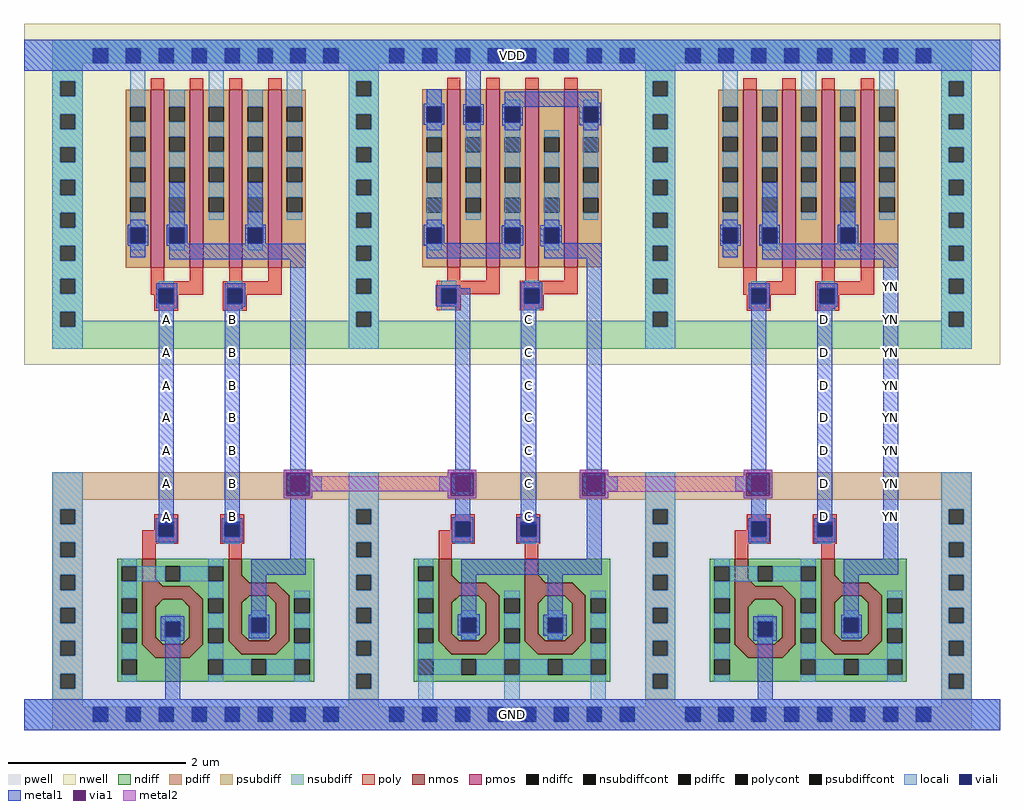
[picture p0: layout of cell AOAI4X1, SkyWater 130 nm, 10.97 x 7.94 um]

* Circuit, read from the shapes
.subckt AOAI4X1 YN A B C D VDD GND
XM1 n1 A GND GND sky130_fd_pr__nfet_01v8 w=2.6 l=0.1478
XM2 n1 B n2 GND sky130_fd_pr__nfet_01v8 w=2.56 l=0.1466
XM3 GND n2 n3 GND sky130_fd_pr__nfet_01v8 w=2.56 l=0.1467
XM4 GND C n3 GND sky130_fd_pr__nfet_01v8 w=2.56 l=0.1467
XM5 n4 n3 GND GND sky130_fd_pr__nfet_01v8 w=2.6 l=0.1478
XM6 n4 D YN GND sky130_fd_pr__nfet_01v8 w=2.56 l=0.1466
XM7 n2 A VDD VDD sky130_fd_pr__pfet_01v8 w=2 l=0.15 m=2
XM8 n2 B VDD VDD sky130_fd_pr__pfet_01v8 w=2 l=0.15 m=2
XM9 VDD n2 n5 VDD sky130_fd_pr__pfet_01v8 w=2 l=0.15 m=2
XM10 n3 C n5 VDD sky130_fd_pr__pfet_01v8 w=2 l=0.15 m=2
XM11 YN n3 VDD VDD sky130_fd_pr__pfet_01v8 w=2 l=0.15 m=2
XM12 YN D VDD VDD sky130_fd_pr__pfet_01v8 w=2 l=0.15 m=2
.ends

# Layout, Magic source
magic
tech sky130A
magscale 1 2
<< nwell >>
rect 0 1586 2194 1588
rect 0 822 11 1586
rect 155 1499 189 1533
rect 2183 822 2194 1586
<< pwell >>
rect 0 2 64 70
rect 155 19 189 53
rect 2130 2 2194 70
rect 0 0 2194 2
<< psubdiff >>
rect 64 0 2130 2
<< nsubdiff >>
rect 64 1550 2130 1552
<< locali >>
rect 0 1482 2194 1552
rect 0 0 2194 70
<< metal1 >>
rect 0 1482 2194 1552
rect 1931 981 1965 1015
rect 303 907 337 941
rect 451 907 485 941
rect 1117 907 1151 941
rect 1783 907 1817 941
rect 1931 907 1965 941
rect 303 833 337 867
rect 451 833 485 867
rect 1117 833 1151 867
rect 1783 833 1817 867
rect 1931 833 1965 867
rect 303 759 337 793
rect 451 759 485 793
rect 1117 759 1151 793
rect 1783 759 1817 793
rect 1931 759 1965 793
rect 303 685 337 719
rect 451 685 485 719
rect 1117 685 1151 719
rect 1783 685 1817 719
rect 1931 685 1965 719
rect 303 611 337 645
rect 451 611 485 645
rect 1117 611 1151 645
rect 1783 611 1817 645
rect 1931 611 1965 645
rect 303 537 337 571
rect 451 537 485 571
rect 1117 537 1151 571
rect 1783 537 1817 571
rect 1931 537 1965 571
rect 303 463 337 497
rect 451 463 485 497
rect 1117 463 1151 497
rect 1783 463 1817 497
rect 1931 463 1965 497
rect 0 0 2194 70
use aoai4x1_pcell  aoai4x1_pcell_0
transform 1 0 98 0 1 36
box -87 -34 2085 1550
<< labels >>
rlabel metal1 1931 611 1965 645 1 YN
port 1 nsew signal output
rlabel metal1 1931 537 1965 571 1 YN
port 1 nsew signal output
rlabel metal1 1931 463 1965 497 1 YN
port 1 nsew signal output
rlabel metal1 1931 685 1965 719 1 YN
port 1 nsew signal output
rlabel metal1 1931 759 1965 793 1 YN
port 1 nsew signal output
rlabel metal1 1931 833 1965 867 1 YN
port 1 nsew signal output
rlabel metal1 1931 907 1965 941 1 YN
port 1 nsew signal output
rlabel metal1 1931 981 1965 1015 1 YN
port 1 nsew signal output
rlabel metal1 303 611 337 645 1 A
port 2 nsew signal input
rlabel metal1 303 537 337 571 1 A
port 2 nsew signal input
rlabel metal1 303 463 337 497 1 A
port 2 nsew signal input
rlabel metal1 303 685 337 719 1 A
port 2 nsew signal input
rlabel metal1 303 759 337 793 1 A
port 2 nsew signal input
rlabel metal1 303 833 337 867 1 A
port 2 nsew signal input
rlabel metal1 303 907 337 941 1 A
port 2 nsew signal input
rlabel metal1 451 685 485 719 1 B
port 3 nsew signal input
rlabel metal1 451 759 485 793 1 B
port 3 nsew signal input
rlabel metal1 451 833 485 867 1 B
port 3 nsew signal input
rlabel metal1 451 907 485 941 1 B
port 3 nsew signal input
rlabel metal1 451 611 485 645 1 B
port 3 nsew signal input
rlabel metal1 451 537 485 571 1 B
port 3 nsew signal input
rlabel metal1 451 463 485 497 1 B
port 3 nsew signal input
rlabel metal1 1117 685 1151 719 1 C
port 4 nsew signal input
rlabel metal1 1117 611 1151 645 1 C
port 4 nsew signal input
rlabel metal1 1117 537 1151 571 1 C
port 4 nsew signal input
rlabel metal1 1117 463 1151 497 1 C
port 4 nsew signal input
rlabel metal1 1117 833 1151 867 1 C
port 4 nsew signal input
rlabel metal1 1117 907 1151 941 1 C
port 4 nsew signal input
rlabel metal1 1117 759 1151 793 1 C
port 4 nsew signal input
rlabel metal1 1783 833 1817 867 1 D
port 5 nsew signal input
rlabel metal1 1783 759 1817 793 1 D
port 5 nsew signal input
rlabel metal1 1783 685 1817 719 1 D
port 5 nsew signal input
rlabel metal1 1783 611 1817 645 1 D
port 5 nsew signal input
rlabel metal1 1783 537 1817 571 1 D
port 5 nsew signal input
rlabel metal1 1783 463 1817 497 1 D
port 5 nsew signal input
rlabel metal1 1783 907 1817 941 1 D
port 5 nsew signal input
rlabel metal1 0 1482 2194 1552 1 VDD
port 6 nsew power bidirectional abutment
rlabel metal1 0 0 2194 70 1 GND
port 7 nsew ground bidirectional abutment
<< properties >>
string FIXED_BBOX 0 0 2194 1552
string LEFclass CORE
string LEFsite unitrh
string LEFsymmetry X Y
<< end >>

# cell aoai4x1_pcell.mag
magic
tech sky130A
magscale 1 2
<< metal1 >>
rect 486 543 550 549
rect 486 491 492 543
rect 544 491 550 543
rect 486 485 550 491
rect 855 543 919 549
rect 855 491 861 543
rect 913 491 919 543
rect 855 485 919 491
rect 1151 543 1215 549
rect 1151 491 1157 543
rect 1209 491 1215 543
rect 1151 485 1215 491
rect 1520 543 1584 549
rect 1520 491 1526 543
rect 1578 491 1584 543
rect 1520 485 1584 491
<< via1 >>
rect 492 491 544 543
rect 861 491 913 543
rect 1157 491 1209 543
rect 1526 491 1578 543
<< metal2 >>
rect 486 543 550 549
rect 486 491 492 543
rect 544 535 550 543
rect 855 543 919 549
rect 855 535 861 543
rect 544 501 861 535
rect 544 491 550 501
rect 486 485 550 491
rect 855 491 861 501
rect 913 491 919 543
rect 855 485 919 491
rect 1151 543 1215 549
rect 1151 491 1157 543
rect 1209 535 1215 543
rect 1520 543 1584 549
rect 1520 535 1526 543
rect 1209 500 1526 535
rect 1209 491 1215 500
rect 1151 485 1215 491
rect 1520 491 1526 500
rect 1578 491 1584 543
rect 1520 485 1584 491
use li1_M1_contact  li1_M1_contact_0
transform -1 0 518 0 -1 518
box -53 -33 29 33
use li1_M1_contact  li1_M1_contact_1
transform 1 0 888 0 1 518
box -53 -33 29 33
use li1_M1_contact  li1_M1_contact_2
transform -1 0 1184 0 -1 518
box -53 -33 29 33
use li1_M1_contact  li1_M1_contact_3
transform 1 0 1554 0 1 518
box -53 -33 29 33
use nand2x1_pcell  nand2x1_pcell_0
transform 1 0 0 0 1 0
box -87 -34 753 1550
use nand2x1_pcell  nand2x1_pcell_1
transform 1 0 1332 0 1 0
box -87 -34 753 1550
use nor2x1_pcell  nor2x1_pcell_0
transform 1 0 666 0 1 0
box -87 -34 753 1550
<< end >>

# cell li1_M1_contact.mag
magic
tech sky130A
magscale 1 2
<< locali >>
rect -17 17 17 33
rect -17 -33 17 -17
<< viali >>
rect -17 -17 17 17
<< metal1 >>
rect -23 17 23 23
rect -53 -17 -17 17
rect 17 -17 29 17
rect -23 -23 23 -17
<< end >>

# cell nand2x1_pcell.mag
magic
tech sky130A
magscale 1 2
<< nwell >>
rect 87 786 579 1550
<< pwell >>
rect 34 542 632 544
rect -31 -30 697 542
rect 34 -34 632 -30
<< pdiff >>
rect 223 1093 269 1100
rect 223 1059 229 1093
rect 263 1059 269 1093
rect 223 1053 269 1059
rect 399 1093 445 1100
rect 399 1059 405 1093
rect 439 1059 445 1093
rect 399 1053 445 1059
<< pdiffc >>
rect 141 1059 175 1093
rect 229 1059 263 1093
rect 405 1059 439 1093
<< psubdiff >>
rect 34 542 632 544
rect 31 482 635 542
rect 31 480 34 482
rect 632 480 635 482
rect 31 -17 57 17
rect 91 -17 131 17
rect 165 -17 205 17
rect 239 -17 279 17
rect 313 -17 353 17
rect 387 -17 427 17
rect 461 -17 501 17
rect 535 -17 575 17
rect 609 -17 635 17
rect 31 -30 635 -17
rect 34 -34 632 -30
<< nsubdiff >>
rect 34 1497 632 1514
rect 34 1463 57 1497
rect 91 1463 131 1497
rect 165 1463 205 1497
rect 239 1463 279 1497
rect 313 1463 353 1497
rect 387 1463 427 1497
rect 461 1463 501 1497
rect 535 1463 575 1497
rect 609 1463 632 1497
rect 34 822 632 884
<< psubdiffcont >>
rect 57 -17 91 17
rect 131 -17 165 17
rect 205 -17 239 17
rect 279 -17 313 17
rect 353 -17 387 17
rect 427 -17 461 17
rect 501 -17 535 17
rect 575 -17 609 17
<< nsubdiffcont >>
rect 57 1463 91 1497
rect 131 1463 165 1497
rect 205 1463 239 1497
rect 279 1463 313 1497
rect 353 1463 387 1497
rect 427 1463 461 1497
rect 501 1463 535 1497
rect 575 1463 609 1497
<< poly >>
rect 168 375 198 413
rect 362 382 392 383
<< locali >>
rect -34 1497 634 1514
rect -34 1463 57 1497
rect 91 1463 131 1497
rect 165 1463 205 1497
rect 239 1463 279 1497
rect 313 1463 353 1497
rect 387 1463 427 1497
rect 461 1463 501 1497
rect 535 1463 575 1497
rect 609 1463 634 1497
rect -34 1446 634 1463
rect 141 1093 175 1122
rect 141 1043 175 1059
rect 229 1093 263 1122
rect 229 1043 263 1059
rect 405 1093 439 1122
rect 405 1043 439 1059
rect 33 17 659 34
rect 33 -17 57 17
rect 91 -17 131 17
rect 165 -17 205 17
rect 239 -17 279 17
rect 313 -17 353 17
rect 387 -17 427 17
rect 461 -17 501 17
rect 535 -17 575 17
rect 609 -17 659 17
rect 33 -34 659 -17
<< viali >>
rect 57 1463 91 1497
rect 131 1463 165 1497
rect 205 1463 239 1497
rect 279 1463 313 1497
rect 353 1463 387 1497
rect 427 1463 461 1497
rect 501 1463 535 1497
rect 575 1463 609 1497
rect 141 1059 175 1093
rect 229 1059 263 1093
rect 405 1059 439 1093
rect 205 923 239 957
rect 359 923 393 957
rect 205 399 239 433
rect 353 399 387 433
rect 219 174 253 208
rect 413 183 447 217
rect 57 -17 91 17
rect 131 -17 165 17
rect 205 -17 239 17
rect 279 -17 313 17
rect 353 -17 387 17
rect 427 -17 461 17
rect 501 -17 535 17
rect 575 -17 609 17
<< metal1 >>
rect -34 1497 700 1514
rect -34 1463 57 1497
rect 91 1463 131 1497
rect 165 1463 205 1497
rect 239 1463 279 1497
rect 313 1463 353 1497
rect 387 1463 427 1497
rect 461 1463 501 1497
rect 535 1463 575 1497
rect 609 1463 700 1497
rect -34 1446 700 1463
rect 141 1100 175 1111
rect 229 1100 263 1196
rect 405 1100 439 1196
rect 135 1093 181 1100
rect 135 1059 141 1093
rect 175 1059 181 1093
rect 135 1053 181 1059
rect 223 1093 269 1100
rect 223 1059 229 1093
rect 263 1059 269 1093
rect 223 1057 269 1059
rect 399 1093 445 1100
rect 399 1059 405 1093
rect 439 1059 445 1093
rect 399 1057 445 1059
rect 223 1053 535 1057
rect 141 1027 175 1053
rect 229 1023 535 1053
rect 199 957 246 969
rect 199 923 205 957
rect 239 923 246 957
rect 199 912 246 923
rect 353 957 399 969
rect 353 923 359 957
rect 393 923 399 957
rect 353 916 399 923
rect 205 441 239 912
rect 353 911 394 916
rect 353 441 387 911
rect 198 433 246 441
rect 198 399 205 433
rect 239 399 246 433
rect 198 387 246 399
rect 347 433 394 441
rect 347 399 353 433
rect 387 399 394 433
rect 347 387 394 399
rect 501 348 535 1023
rect 413 314 535 348
rect 413 224 447 314
rect 209 208 262 220
rect 209 174 219 208
rect 253 174 262 208
rect 209 165 262 174
rect 407 217 453 224
rect 407 183 413 217
rect 447 183 453 217
rect 407 171 453 183
rect 219 34 253 165
rect -34 17 700 34
rect -34 -17 57 17
rect 91 -17 131 17
rect 165 -17 205 17
rect 239 -17 279 17
rect 313 -17 353 17
rect 387 -17 427 17
rect 461 -17 501 17
rect 535 -17 575 17
rect 609 -17 700 17
rect -34 -34 700 -17
use diff_ring_side  diff_ring_side_0
transform 1 0 666 0 1 0
box -87 -34 87 1550
use diff_ring_side  diff_ring_side_1
transform 1 0 0 0 1 0
box -87 -34 87 1550
use nmos_bottom  nmos_bottom_0
transform -1 0 360 0 1 73
box 0 0 248 302
use nmos_top_trim1  nmos_top_trim1_0
transform -1 0 554 0 1 73
box 0 0 248 309
use pmos2  pmos2_0
transform 1 0 43 0 1 1404
box 52 -461 352 42
use pmos2  pmos2_1
transform 1 0 219 0 1 1404
box 52 -461 352 42
use poly_li1_contact  poly_li1_contact_0
transform 0 1 223 -1 0 941
box -32 -28 34 26
use poly_li1_contact  poly_li1_contact_1
transform 0 1 223 -1 0 417
box -32 -28 34 26
use poly_li1_contact  poly_li1_contact_2
transform 0 -1 369 1 0 415
box -32 -28 34 26
use poly_li1_contact  poly_li1_contact_3
transform 0 1 377 -1 0 941
box -32 -28 34 26
<< end >>

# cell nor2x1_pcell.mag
magic
tech sky130A
magscale 1 2
<< nwell >>
rect 87 786 579 1550
<< pwell >>
rect 34 -34 632 544
<< pdiff >>
rect 141 1043 175 1059
rect 317 1043 351 1050
rect 405 1043 439 1050
<< pdiffc >>
rect 141 1331 175 1365
rect 229 1331 263 1365
rect 317 1331 351 1365
rect 493 1331 527 1365
rect 141 1059 175 1093
rect 317 1059 351 1093
rect 405 1059 439 1093
<< psubdiff >>
rect 34 482 632 544
rect 34 -17 57 17
rect 91 -17 131 17
rect 165 -17 205 17
rect 239 -17 279 17
rect 313 -17 353 17
rect 387 -17 427 17
rect 461 -17 501 17
rect 535 -17 575 17
rect 609 -17 632 17
rect 34 -34 632 -17
<< nsubdiff >>
rect 34 1497 632 1514
rect 34 1463 57 1497
rect 91 1463 131 1497
rect 165 1463 205 1497
rect 239 1463 279 1497
rect 313 1463 353 1497
rect 387 1463 427 1497
rect 461 1463 501 1497
rect 535 1463 575 1497
rect 609 1463 632 1497
rect 34 822 632 884
<< psubdiffcont >>
rect 57 -17 91 17
rect 131 -17 165 17
rect 205 -17 239 17
rect 279 -17 313 17
rect 353 -17 387 17
rect 427 -17 461 17
rect 501 -17 535 17
rect 575 -17 609 17
<< nsubdiffcont >>
rect 57 1463 91 1497
rect 131 1463 165 1497
rect 205 1463 239 1497
rect 279 1463 313 1497
rect 353 1463 387 1497
rect 427 1463 461 1497
rect 501 1463 535 1497
rect 575 1463 609 1497
<< poly >>
rect 168 375 198 413
rect 362 382 392 383
<< locali >>
rect -34 1497 667 1514
rect -34 1463 57 1497
rect 91 1463 131 1497
rect 165 1463 205 1497
rect 239 1463 279 1497
rect 313 1463 353 1497
rect 387 1463 427 1497
rect 461 1463 501 1497
rect 535 1463 575 1497
rect 609 1463 667 1497
rect -34 1446 667 1463
rect 141 1365 175 1405
rect 141 1312 175 1331
rect 229 1365 263 1405
rect 229 1229 263 1331
rect 317 1365 351 1381
rect 317 1229 351 1331
rect 493 1365 527 1381
rect 493 1229 527 1331
rect 141 1093 175 1195
rect 141 1043 175 1059
rect 317 1093 351 1195
rect 317 1043 351 1059
rect 405 1093 439 1195
rect 405 1043 439 1059
rect 122 34 156 157
rect 316 34 350 89
rect 510 34 544 89
rect 33 17 657 34
rect 33 -17 57 17
rect 91 -17 131 17
rect 165 -17 205 17
rect 239 -17 279 17
rect 313 -17 353 17
rect 387 -17 427 17
rect 461 -17 501 17
rect 535 -17 575 17
rect 609 -17 657 17
rect 33 -34 657 -17
<< viali >>
rect 57 1463 91 1497
rect 131 1463 165 1497
rect 205 1463 239 1497
rect 279 1463 313 1497
rect 353 1463 387 1497
rect 427 1463 461 1497
rect 501 1463 535 1497
rect 575 1463 609 1497
rect 141 1331 175 1365
rect 229 1331 263 1365
rect 317 1331 351 1365
rect 493 1331 527 1365
rect 141 1059 175 1093
rect 317 1059 351 1093
rect 405 1059 439 1093
rect 174 924 208 958
rect 360 924 394 958
rect 205 399 239 433
rect 353 399 387 433
rect 219 183 253 217
rect 413 183 447 217
rect 57 -17 91 17
rect 131 -17 165 17
rect 205 -17 239 17
rect 279 -17 313 17
rect 353 -17 387 17
rect 427 -17 461 17
rect 501 -17 535 17
rect 575 -17 609 17
<< metal1 >>
rect 34 1497 632 1514
rect 34 1463 57 1497
rect 91 1463 131 1497
rect 165 1463 205 1497
rect 239 1463 279 1497
rect 313 1463 353 1497
rect 387 1463 427 1497
rect 461 1463 501 1497
rect 535 1463 575 1497
rect 609 1463 632 1497
rect 34 1446 632 1463
rect 141 1372 175 1405
rect 135 1365 181 1372
rect 229 1371 263 1446
rect 317 1375 527 1399
rect 317 1371 533 1375
rect 135 1331 141 1365
rect 175 1331 181 1365
rect 135 1325 181 1331
rect 223 1365 269 1371
rect 223 1331 229 1365
rect 263 1331 269 1365
rect 223 1325 269 1331
rect 311 1365 533 1371
rect 311 1331 317 1365
rect 351 1331 357 1365
rect 141 1313 175 1325
rect 229 1313 263 1325
rect 311 1323 357 1331
rect 484 1331 493 1365
rect 527 1331 533 1365
rect 484 1324 533 1331
rect 317 1313 351 1323
rect 493 1313 527 1324
rect 141 1100 175 1111
rect 135 1093 181 1100
rect 317 1099 351 1111
rect 405 1099 439 1111
rect 135 1059 141 1093
rect 175 1059 181 1093
rect 310 1093 358 1099
rect 310 1059 317 1093
rect 351 1059 358 1093
rect 135 1053 358 1059
rect 397 1093 445 1099
rect 397 1059 405 1093
rect 439 1059 445 1093
rect 141 1025 351 1053
rect 397 1052 535 1059
rect 405 1025 535 1052
rect 162 958 217 964
rect 353 958 401 971
rect 162 924 174 958
rect 208 924 239 958
rect 162 917 239 924
rect 205 443 239 917
rect 353 924 360 958
rect 394 924 401 958
rect 353 912 401 924
rect 353 443 387 912
rect 197 433 246 443
rect 197 399 205 433
rect 239 399 246 433
rect 197 387 246 399
rect 344 433 395 443
rect 344 399 353 433
rect 387 399 395 433
rect 344 387 395 399
rect 501 348 535 1025
rect 219 314 535 348
rect 219 225 253 314
rect 211 217 260 225
rect 413 224 447 314
rect 211 183 219 217
rect 253 183 260 217
rect 211 177 260 183
rect 403 217 456 224
rect 403 183 413 217
rect 447 183 456 217
rect 219 167 253 177
rect 403 176 456 183
rect 413 167 447 176
rect 34 17 632 34
rect 34 -17 57 17
rect 91 -17 131 17
rect 165 -17 205 17
rect 239 -17 279 17
rect 313 -17 353 17
rect 387 -17 427 17
rect 461 -17 501 17
rect 535 -17 575 17
rect 609 -17 632 17
rect 34 -34 632 -17
use diff_ring_side  diff_ring_side_0
transform 1 0 666 0 1 0
box -87 -34 87 1550
use diff_ring_side  diff_ring_side_1
transform 1 0 0 0 1 0
box -87 -34 87 1550
use nmos_top_trim1  nmos_top_trim1_1
transform -1 0 360 0 1 73
box 0 0 248 309
use nmos_top_trim2  nmos_top_trim2_0
transform -1 0 554 0 1 73
box 0 0 248 309
use pmos2_1  pmos2_1_0
transform 1 0 43 0 1 1404
box 52 -460 352 37
use pmos2_1  pmos2_1_1
transform 1 0 219 0 1 1404
box 52 -460 352 37
use poly_li1_contact  poly_li1_contact_0
transform 0 1 192 -1 0 942
box -32 -28 34 26
use poly_li1_contact  poly_li1_contact_1
transform 0 1 223 -1 0 417
box -32 -28 34 26
use poly_li1_contact  poly_li1_contact_2
transform 0 -1 369 1 0 415
box -32 -28 34 26
use poly_li1_contact  poly_li1_contact_3
transform 0 1 378 -1 0 942
box -32 -28 34 26
<< end >>

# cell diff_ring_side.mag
magic
tech sky130A
magscale 1 2
<< nwell >>
rect -87 786 87 1550
<< pwell >>
rect -34 -34 34 544
<< psubdiff >>
rect -34 461 34 544
rect -34 427 -17 461
rect 17 427 34 461
rect -34 387 34 427
rect -34 353 -17 387
rect 17 353 34 387
rect -34 313 34 353
rect -34 279 -17 313
rect 17 279 34 313
rect -34 239 34 279
rect -34 205 -17 239
rect 17 205 34 239
rect -34 165 34 205
rect -34 131 -17 165
rect 17 131 34 165
rect -34 91 34 131
rect -34 57 -17 91
rect 17 57 34 91
rect -34 -34 34 57
<< nsubdiff >>
rect -34 1423 34 1514
rect -34 1389 -17 1423
rect 17 1389 34 1423
rect -34 1349 34 1389
rect -34 1315 -17 1349
rect 17 1315 34 1349
rect -34 1275 34 1315
rect -34 1241 -17 1275
rect 17 1241 34 1275
rect -34 1201 34 1241
rect -34 1167 -17 1201
rect 17 1167 34 1201
rect -34 1127 34 1167
rect -34 1093 -17 1127
rect 17 1093 34 1127
rect -34 1053 34 1093
rect -34 1019 -17 1053
rect 17 1019 34 1053
rect -34 979 34 1019
rect -34 945 -17 979
rect 17 945 34 979
rect -34 905 34 945
rect -34 871 -17 905
rect 17 871 34 905
rect -34 822 34 871
<< psubdiffcont >>
rect -17 427 17 461
rect -17 353 17 387
rect -17 279 17 313
rect -17 205 17 239
rect -17 131 17 165
rect -17 57 17 91
<< nsubdiffcont >>
rect -17 1389 17 1423
rect -17 1315 17 1349
rect -17 1241 17 1275
rect -17 1167 17 1201
rect -17 1093 17 1127
rect -17 1019 17 1053
rect -17 945 17 979
rect -17 871 17 905
<< locali >>
rect -34 1423 34 1514
rect -34 1389 -17 1423
rect 17 1389 34 1423
rect -34 1349 34 1389
rect -34 1315 -17 1349
rect 17 1315 34 1349
rect -34 1275 34 1315
rect -34 1241 -17 1275
rect 17 1241 34 1275
rect -34 1201 34 1241
rect -34 1167 -17 1201
rect 17 1167 34 1201
rect -34 1127 34 1167
rect -34 1093 -17 1127
rect 17 1093 34 1127
rect -34 1053 34 1093
rect -34 1019 -17 1053
rect 17 1019 34 1053
rect -34 979 34 1019
rect -34 945 -17 979
rect 17 945 34 979
rect -34 905 34 945
rect -34 871 -17 905
rect 17 871 34 905
rect -34 822 34 871
rect -34 461 34 544
rect -34 427 -17 461
rect 17 427 34 461
rect -34 387 34 427
rect -34 353 -17 387
rect 17 353 34 387
rect -34 313 34 353
rect -34 279 -17 313
rect 17 279 34 313
rect -34 239 34 279
rect -34 205 -17 239
rect 17 205 34 239
rect -34 165 34 205
rect -34 131 -17 165
rect 17 131 34 165
rect -34 91 34 131
rect -34 57 -17 91
rect 17 57 34 91
rect -34 -34 34 57
<< metal1 >>
rect -34 1446 34 1514
rect -34 -34 34 34
<< end >>

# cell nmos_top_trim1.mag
magic
tech sky130
magscale 1 2
<< nmos >>
tri 146 223 162 239 se
rect 162 223 192 276
tri 56 193 86 223 se
rect 86 193 192 223
rect 56 92 86 193
tri 86 177 102 193 nw
tri 146 177 162 193 ne
tri 86 92 102 108 sw
tri 146 92 162 108 se
rect 162 92 192 193
tri 56 62 86 92 ne
rect 86 62 162 92
tri 162 62 192 92 nw
<< ndiff >>
rect 0 239 162 276
rect 0 223 146 239
tri 146 223 162 239 nw
rect 192 260 248 276
rect 192 226 204 260
rect 238 226 248 260
rect 0 188 56 223
tri 56 193 86 223 nw
rect 0 154 10 188
rect 44 154 56 188
rect 0 120 56 154
rect 0 86 10 120
rect 44 86 56 120
tri 86 177 102 193 se
rect 102 177 146 193
tri 146 177 162 193 sw
rect 86 144 162 177
rect 86 110 107 144
rect 141 110 162 144
rect 86 108 162 110
tri 86 92 102 108 ne
rect 102 92 146 108
tri 146 92 162 108 nw
rect 192 188 248 226
rect 192 154 204 188
rect 238 154 248 188
rect 192 120 248 154
rect 0 62 56 86
tri 56 62 86 92 sw
tri 162 62 192 92 se
rect 192 86 204 120
rect 238 86 248 120
rect 192 62 248 86
rect 0 50 248 62
rect 0 16 10 50
rect 44 16 107 50
rect 141 16 204 50
rect 238 16 248 50
rect 0 0 248 16
<< ndiffc >>
rect 204 226 238 260
rect 10 154 44 188
rect 10 86 44 120
rect 107 110 141 144
rect 204 154 238 188
rect 204 86 238 120
rect 10 16 44 50
rect 107 16 141 50
rect 204 16 238 50
<< poly >>
rect 162 276 192 309
<< locali >>
rect 204 260 238 276
rect 10 188 44 204
rect 204 188 238 226
rect 10 120 44 154
rect 107 144 141 161
rect 107 94 141 110
rect 204 120 238 154
rect 10 50 44 86
rect 204 50 238 86
rect 44 16 107 50
rect 141 16 204 50
rect 10 0 44 16
rect 204 0 238 16
<< end >>

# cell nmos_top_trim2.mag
magic
tech sky130
magscale 1 2
<< nmos >>
tri 146 223 162 239 se
rect 162 223 192 276
tri 56 193 86 223 se
rect 86 193 192 223
rect 56 178 87 193
tri 87 178 102 193 nw
tri 146 178 161 193 ne
rect 161 178 192 193
rect 56 92 86 178
tri 86 92 102 108 sw
tri 146 92 162 108 se
rect 162 92 192 178
tri 56 62 86 92 ne
rect 86 62 162 92
tri 162 62 192 92 nw
<< ndiff >>
rect 0 239 162 276
rect 0 223 146 239
tri 146 223 162 239 nw
rect 0 188 56 223
tri 56 193 86 223 nw
rect 0 154 10 188
rect 44 154 56 188
tri 87 178 102 193 se
rect 102 178 146 193
tri 146 178 161 193 sw
rect 192 188 248 276
rect 0 120 56 154
rect 0 86 10 120
rect 44 86 56 120
rect 86 144 162 178
rect 86 110 107 144
rect 141 110 162 144
rect 86 108 162 110
tri 86 92 102 108 ne
rect 102 92 146 108
tri 146 92 162 108 nw
rect 192 154 204 188
rect 238 154 248 188
rect 192 120 248 154
rect 0 62 56 86
tri 56 62 86 92 sw
tri 162 62 192 92 se
rect 192 86 204 120
rect 238 86 248 120
rect 192 62 248 86
rect 0 50 248 62
rect 0 16 10 50
rect 44 16 107 50
rect 141 16 204 50
rect 238 16 248 50
rect 0 0 248 16
<< ndiffc >>
rect 10 154 44 188
rect 10 86 44 120
rect 107 110 141 144
rect 204 154 238 188
rect 204 86 238 120
rect 10 16 44 50
rect 107 16 141 50
rect 204 16 238 50
<< poly >>
rect 162 276 192 309
<< locali >>
rect 10 188 44 205
rect 204 188 238 205
rect 10 120 44 154
rect 107 144 141 161
rect 107 94 141 110
rect 204 120 238 154
rect 10 50 44 86
rect 204 50 238 86
rect 44 16 107 50
rect 141 16 204 50
rect 10 0 44 16
rect 204 0 238 16
<< end >>

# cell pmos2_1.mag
magic
tech sky130A
magscale 1 2
<< nwell >>
rect 52 -435 352 37
<< pmos >>
rect 144 -399 174 1
rect 232 -399 262 1
<< pdiff >>
rect 88 -107 144 1
rect 88 -141 98 -107
rect 132 -141 144 -107
rect 88 -175 144 -141
rect 88 -209 98 -175
rect 132 -209 144 -175
rect 88 -243 144 -209
rect 88 -277 98 -243
rect 132 -277 144 -243
rect 88 -399 144 -277
rect 174 -107 232 1
rect 174 -141 186 -107
rect 220 -141 232 -107
rect 174 -175 232 -141
rect 174 -209 186 -175
rect 220 -209 232 -175
rect 174 -243 232 -209
rect 174 -277 186 -243
rect 220 -277 232 -243
rect 174 -399 232 -277
rect 262 -107 316 1
rect 262 -141 274 -107
rect 308 -141 316 -107
rect 262 -175 316 -141
rect 262 -209 274 -175
rect 308 -209 316 -175
rect 262 -243 316 -209
rect 262 -277 274 -243
rect 308 -277 316 -243
rect 262 -399 316 -277
<< pdiffc >>
rect 98 -141 132 -107
rect 98 -209 132 -175
rect 98 -277 132 -243
rect 186 -141 220 -107
rect 186 -209 220 -175
rect 186 -277 220 -243
rect 274 -141 308 -107
rect 274 -209 308 -175
rect 274 -277 308 -243
<< poly >>
rect 144 1 174 27
rect 232 1 262 27
rect 144 -430 174 -399
rect 232 -430 262 -399
rect 144 -460 262 -430
<< locali >>
rect 98 -107 132 -91
rect 98 -175 132 -141
rect 98 -243 132 -209
rect 98 -293 132 -277
rect 186 -107 220 -91
rect 186 -175 220 -141
rect 186 -243 220 -209
rect 186 -293 220 -277
rect 274 -107 308 -91
rect 274 -175 308 -141
rect 274 -243 308 -209
rect 274 -293 308 -277
<< end >>

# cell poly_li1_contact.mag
magic
tech sky130
<< poly >>
rect -16 8 17 13
rect -16 -9 -8 8
rect 9 -9 17 8
rect -16 -14 17 -9
<< polycont >>
rect -8 -9 9 8
<< locali >>
rect -16 -9 -8 8
rect 9 -9 17 8
<< end >>

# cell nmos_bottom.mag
magic
tech sky130A
magscale 1 2
<< nmos >>
tri 146 215 162 231 se
rect 162 215 192 276
tri 56 185 86 215 se
rect 86 185 192 215
rect 56 84 86 185
tri 86 169 102 185 nw
tri 146 169 162 185 ne
tri 86 84 102 100 sw
tri 146 84 162 100 se
rect 162 84 192 185
tri 56 54 86 84 ne
rect 86 54 162 84
tri 162 54 192 84 nw
<< ndiff >>
rect 0 260 162 276
rect 0 226 10 260
rect 44 226 107 260
rect 141 231 162 260
rect 141 226 146 231
rect 0 215 146 226
tri 146 215 162 231 nw
rect 192 260 248 276
rect 192 226 204 260
rect 238 226 248 260
rect 0 188 56 215
rect 0 154 10 188
rect 44 154 56 188
tri 56 185 86 215 nw
rect 192 188 248 226
rect 0 120 56 154
rect 0 86 10 120
rect 44 86 56 120
rect 0 54 56 86
tri 86 169 102 185 se
rect 102 169 146 185
tri 146 169 162 185 sw
rect 86 135 162 169
rect 86 101 107 135
rect 141 101 162 135
rect 86 100 162 101
tri 86 84 102 100 ne
rect 102 84 146 100
tri 146 84 162 100 nw
rect 192 154 204 188
rect 238 154 248 188
rect 192 120 248 154
rect 192 86 204 120
rect 238 86 248 120
tri 56 54 86 84 sw
tri 162 54 192 84 se
rect 192 54 248 86
rect 0 50 248 54
rect 0 16 10 50
rect 44 16 204 50
rect 238 16 248 50
rect 0 0 248 16
<< ndiffc >>
rect 10 226 44 260
rect 107 226 141 260
rect 204 226 238 260
rect 10 154 44 188
rect 10 86 44 120
rect 107 101 141 135
rect 204 154 238 188
rect 204 86 238 120
rect 10 16 44 50
rect 204 16 238 50
<< poly >>
rect 162 276 192 302
<< locali >>
rect 10 260 44 276
rect 204 260 238 276
rect 44 226 107 260
rect 141 226 204 260
rect 10 188 44 226
rect 10 120 44 154
rect 204 188 238 226
rect 10 50 44 86
rect 107 135 141 151
rect 107 85 141 101
rect 204 120 238 154
rect 10 0 44 16
rect 204 50 238 86
rect 204 0 238 16
<< end >>

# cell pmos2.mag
magic
tech sky130A
magscale 1 2
<< nwell >>
rect 52 -436 352 36
<< pmos >>
rect 144 -400 174 0
rect 232 -400 262 0
<< pdiff >>
rect 88 -38 144 0
rect 88 -72 98 -38
rect 132 -72 144 -38
rect 88 -106 144 -72
rect 88 -140 98 -106
rect 132 -140 144 -106
rect 88 -174 144 -140
rect 88 -208 98 -174
rect 132 -208 144 -174
rect 88 -242 144 -208
rect 88 -276 98 -242
rect 132 -276 144 -242
rect 88 -400 144 -276
rect 174 -38 232 0
rect 174 -72 186 -38
rect 220 -72 232 -38
rect 174 -106 232 -72
rect 174 -140 186 -106
rect 220 -140 232 -106
rect 174 -174 232 -140
rect 174 -208 186 -174
rect 220 -208 232 -174
rect 174 -242 232 -208
rect 174 -276 186 -242
rect 220 -276 232 -242
rect 174 -400 232 -276
rect 262 -38 316 0
rect 262 -72 274 -38
rect 308 -72 316 -38
rect 262 -106 316 -72
rect 262 -140 274 -106
rect 308 -140 316 -106
rect 262 -174 316 -140
rect 262 -208 274 -174
rect 308 -208 316 -174
rect 262 -242 316 -208
rect 262 -276 274 -242
rect 308 -276 316 -242
rect 262 -400 316 -276
<< pdiffc >>
rect 98 -72 132 -38
rect 98 -140 132 -106
rect 98 -208 132 -174
rect 98 -276 132 -242
rect 186 -72 220 -38
rect 186 -140 220 -106
rect 186 -208 220 -174
rect 186 -276 220 -242
rect 274 -72 308 -38
rect 274 -140 308 -106
rect 274 -208 308 -174
rect 274 -276 308 -242
<< poly >>
rect 144 0 174 26
rect 232 0 262 26
rect 144 -431 174 -400
rect 232 -431 262 -400
rect 144 -461 262 -431
<< locali >>
rect 98 -38 132 42
rect 98 -106 132 -72
rect 98 -174 132 -140
rect 98 -242 132 -208
rect 98 -293 132 -276
rect 186 -38 220 0
rect 186 -106 220 -72
rect 186 -174 220 -140
rect 186 -242 220 -208
rect 186 -293 220 -276
rect 274 -38 308 42
rect 274 -106 308 -72
rect 274 -174 308 -140
rect 274 -242 308 -208
rect 274 -293 308 -276
<< end >>
